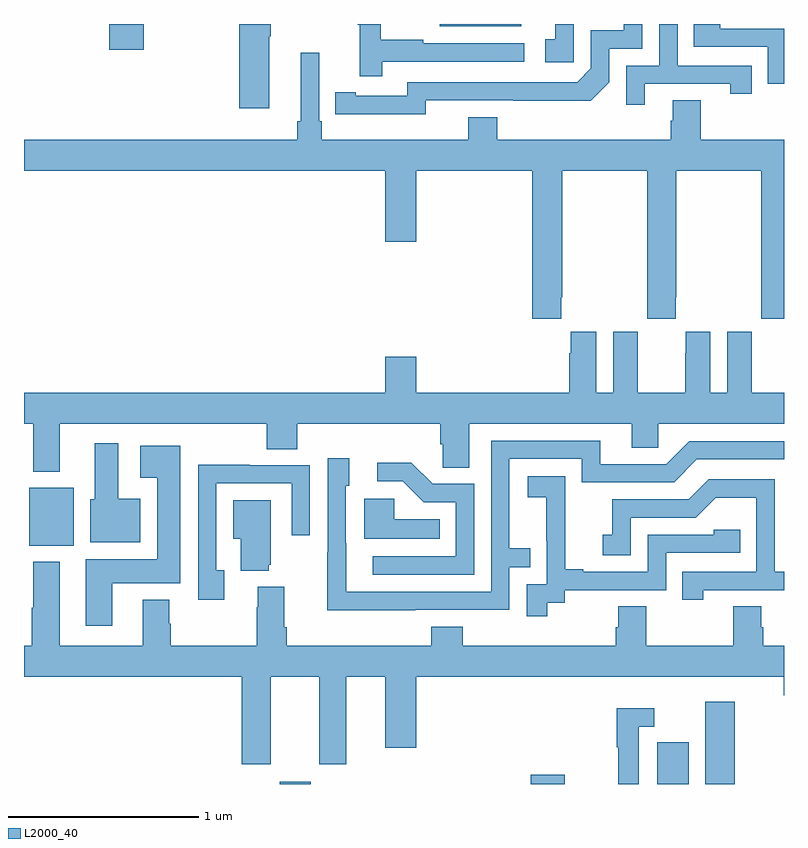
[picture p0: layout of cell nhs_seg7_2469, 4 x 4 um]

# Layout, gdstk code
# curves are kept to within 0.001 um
import gdstk
lib = gdstk.Library(unit=1e-6, precision=1e-09)
def R(c, l, rs):  # rectangles x0, y0, x1, y1
    for r in rs: c.add(gdstk.rectangle(r[:2], r[2:], *l))
def P(c, l, *ps):  # polygons
    for p in ps: c.add(gdstk.Polygon(p, *l))
L2000_40 = (2000, 40)

nhs_seg7_2469 = lib.new_cell('nhs_seg7_2469')
R(nhs_seg7_2469, L2000_40, [(272.345,1052,272.509,1052.011), (273.668,1052,273.846,1052.05), (274.334,1052,274.498,1052.221), (274.586,1052,274.741,1052.434), (271.028,1053.254,271.261,1053.559), (271.448,1055.865,271.631,1056), (273.189,1055.987,273.616,1056)])
P(nhs_seg7_2469, L2000_40, [(273.114,1055.598),(273.982,1055.597),(274.08,1055.694),(274.08,1055.871),(274.254,1055.871),(274.254,1056),(274.157,1056),(274.157,1055.967),(273.984,1055.967),(273.984,1055.766),(273.912,1055.694),(273.018,1055.694),(273.018,1055.622),(272.746,1055.622),(272.746,1055.642),(272.638,1055.642),(272.638,1055.526),(273.114,1055.525)],
  [(272.29,1055.935),(272.298,1055.935),(272.298,1056),(272.132,1056),(272.132,1055.556),(272.29,1055.556)],
  [(275,1055.976),(274.665,1055.976),(274.665,1056),(274.525,1056),(274.525,1055.88),(274.914,1055.88),(274.914,1055.685),(275,1055.685)],
  [(273.894,1056),(273.797,1056),(273.797,1055.919),(273.744,1055.919),(273.744,1055.799),(273.894,1055.799)],
  [(272.885,1055.802),(273.634,1055.802),(273.634,1055.898),(273.101,1055.898),(273.101,1055.918),(272.878,1055.918),(272.878,1056),(272.757,1056),(272.757,1055.995),(272.768,1055.995),(272.768,1055.724),(272.885,1055.724)],
  [(274.267,1055.685),(274.718,1055.685),(274.718,1055.634),(274.829,1055.634),(274.829,1055.781),(274.44,1055.781),(274.44,1056),(274.344,1056),(274.344,1055.781),(274.17,1055.781),(274.17,1055.574),(274.267,1055.574)],
  [(273.827,1054.561),(273.834,1054.561),(273.834,1055.228),(274.279,1055.228),(274.279,1054.561),(274.281,1054.561),(274.281,1054.449),(274.431,1054.449),(274.431,1054.561),(274.434,1054.561),(274.434,1055.228),(274.879,1055.228),(274.879,1054.561),(274.881,1054.561),(274.881,1054.449),(275,1054.449),(275,1055.392),(274.563,1055.392),(274.563,1055.6),(274.415,1055.6),(274.415,1055.49),(274.403,1055.49),(274.403,1055.392),(273.491,1055.392),(273.491,1055.509),(273.338,1055.509),(273.338,1055.392),(272.567,1055.392),(272.567,1055.488),(272.553,1055.488),(272.553,1055.848),(272.456,1055.848),(272.456,1055.488),(272.437,1055.488),(272.437,1055.392),(271,1055.392),(271,1055.228),(272.9,1055.228),(272.9,1054.854),(273.064,1054.854),(273.064,1055.228),(273.674,1055.228),(273.674,1054.449),(273.827,1054.449)],
  [(274.1,1054.06),(274.012,1054.06),(274.012,1054.381),(273.878,1054.381),(273.878,1054.268),(273.869,1054.268),(273.869,1054.06),(273.064,1054.06),(273.064,1054.249),(272.9,1054.249),(272.9,1054.06),(271,1054.06),(271,1053.896),(271.049,1053.896),(271.049,1053.644),(271.189,1053.644),(271.189,1053.896),(272.278,1053.896),(272.278,1053.763),(272.438,1053.763),(272.438,1053.896),(273.191,1053.896),(273.191,1053.787),(273.204,1053.787),(273.204,1053.664),(273.343,1053.664),(273.343,1053.896),(274.199,1053.896),(274.199,1053.769),(274.338,1053.769),(274.338,1053.896),(275,1053.896),(275,1054.06),(274.831,1054.06),(274.831,1054.268),(274.83,1054.268),(274.83,1054.381),(274.7,1054.381),(274.7,1054.06),(274.612,1054.06),(274.612,1054.381),(274.482,1054.381),(274.482,1054.268),(274.481,1054.268),(274.481,1054.06),(274.231,1054.06),(274.231,1054.268),(274.23,1054.268),(274.23,1054.381),(274.1,1054.381)],
  [(273.059,1052.916),(273.555,1052.916),(273.555,1053.141),(273.665,1053.141),(273.665,1053.242),(273.555,1053.242),(273.555,1053.711),(273.936,1053.711),(273.936,1053.588),(274.422,1053.588),(274.542,1053.708),(275,1053.708),(275,1053.804),(274.5,1053.804),(274.38,1053.684),(274.033,1053.684),(274.033,1053.807),(273.459,1053.807),(273.459,1053.012),(272.695,1053.012),(272.694,1053.57),(272.713,1053.57),(272.713,1053.715),(272.598,1053.715),(272.598,1053.221),(272.596,1053.221),(272.596,1052.915)],
  [(271.612,1053.502),(271.495,1053.502),(271.495,1053.793),(271.373,1053.793),(271.373,1053.498),(271.349,1053.498),(271.349,1053.272),(271.612,1053.272)],
  [(271.465,1053.056),(271.822,1053.056),(271.822,1053.781),(271.613,1053.781),(271.613,1053.611),(271.7,1053.611),(271.7,1053.184),(271.325,1053.184),(271.325,1052.832),(271.465,1052.832)],
  [(273.369,1053.579),(273.15,1053.579),(273.037,1053.692),(272.859,1053.692),(272.859,1053.594),(272.993,1053.594),(273.104,1053.483),(273.273,1053.483),(273.273,1053.198),(272.835,1053.198),(272.835,1053.102),(273.369,1053.102)],
  [(272.053,1053.126),(272.013,1053.126),(272.013,1053.582),(272.409,1053.582),(272.409,1053.309),(272.505,1053.309),(272.505,1053.678),(272.189,1053.678),(272.189,1053.68),(271.917,1053.68),(271.917,1052.97),(272.053,1052.97)],
  [(273.754,1052.953),(273.846,1052.953),(273.846,1053.021),(274.38,1053.021),(274.38,1053.216),(274.769,1053.216),(274.769,1053.339),(274.629,1053.339),(274.629,1053.312),(274.284,1053.312),(274.284,1053.117),(273.943,1053.117),(273.943,1053.13),(273.848,1053.13),(273.848,1053.413),(273.849,1053.413),(273.849,1053.619),(273.651,1053.619),(273.651,1053.509),(273.749,1053.509),(273.749,1053.281),(273.75,1053.281),(273.75,1053.051),(273.645,1053.051),(273.645,1052.883),(273.754,1052.883)],
  [(274.576,1053.021),(275,1053.021),(275,1053.117),(274.95,1053.117),(274.95,1053.603),(274.604,1053.603),(274.499,1053.498),(274.096,1053.498),(274.096,1053.313),(274.047,1053.313),(274.047,1053.204),(274.194,1053.204),(274.194,1053.402),(274.536,1053.402),(274.64,1053.506),(274.854,1053.506),(274.854,1053.117),(274.465,1053.117),(274.465,1052.97),(274.576,1052.97)],
  [(273.188,1053.394),(272.949,1053.394),(272.949,1053.502),(272.792,1053.502),(272.792,1053.29),(273.188,1053.29)],
  [(272.288,1053.153),(272.299,1053.153),(272.299,1053.493),(272.102,1053.493),(272.102,1053.29),(272.141,1053.29),(272.141,1053.122),(272.288,1053.122)],
  [(274.999,1052.468),(275,1052.468),(275,1052.728),(274.892,1052.728),(274.892,1052.826),(274.879,1052.826),(274.879,1052.936),(274.732,1052.936),(274.732,1052.728),(274.275,1052.728),(274.275,1052.936),(274.127,1052.936),(274.127,1052.826),(274.115,1052.826),(274.115,1052.728),(273.308,1052.728),(273.308,1052.827),(273.143,1052.827),(273.143,1052.728),(272.384,1052.728),(272.384,1052.824),(272.371,1052.824),(272.371,1053.037),(272.231,1053.037),(272.231,1052.93),(272.224,1052.93),(272.224,1052.728),(271.773,1052.728),(271.773,1052.844),(271.765,1052.844),(271.765,1052.971),(271.625,1052.971),(271.625,1052.728),(271.189,1052.728),(271.189,1053.169),(271.049,1053.169),(271.049,1052.927),(271.042,1052.927),(271.042,1052.728),(271,1052.728),(271,1052.564),(272.147,1052.564),(272.147,1052.103),(272.299,1052.103),(272.299,1052.564),(272.555,1052.564),(272.555,1052.103),(272.695,1052.103),(272.695,1052.564),(272.9,1052.564),(272.9,1052.19),(273.064,1052.19),(273.064,1052.564),(274.999,1052.564)],
  [(274.236,1052.301),(274.318,1052.301),(274.318,1052.398),(274.12,1052.398),(274.12,1052.194),(274.128,1052.194),(274.128,1052),(274.236,1052)])

lib.write_gds('nhs_seg7_2469.gds')
